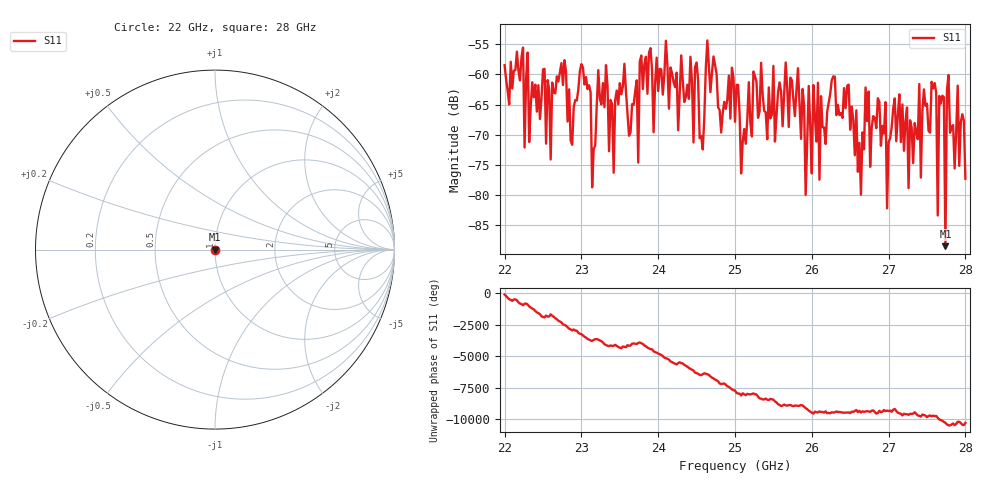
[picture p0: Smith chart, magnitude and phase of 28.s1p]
#  HZ  S  RI  R  50.00
! Rohde & Schwarz ZVA40 4Ports - Version 3.90 - 1145.1110k42 SN: 100403
! Date: 2023-10-04 08:04:57
! Measurement: S12
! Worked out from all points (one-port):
!   301 points, 22 GHz to 28 GHz, reference 50 ohm
!   lowest |S11| = -88.5 dB at 27.74 GHz (marker M1), VSWR 1.00, Z = 50 + j0.00291 ohm
!   |S11| at or under -10 dB: start of sweep to end of sweep
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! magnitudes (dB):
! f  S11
! 22 GHz  -58.4
! 22.76 GHz  -61.8
! 23.1 GHz  -61.8
! 23.14 GHz  -78.8
! 23.22 GHz  -59.3
! 23.42 GHz  -76.3
! 23.5 GHz  -61.4
! 24.26 GHz  -69.3
! 24.58 GHz  -72.5
! 24.64 GHz  -54.3
! 25 GHz  -67.9
! 25.76 GHz  -64.1
! 25.92 GHz  -80.0
! 25.96 GHz  -61.9
! 26 GHz  -76.4
! 26.02 GHz  -61.7
! 26.1 GHz  -77.5
! 26.5 GHz  -69.2
! 26.96 GHz  -64.6
! 26.98 GHz  -82.3
! 27.14 GHz  -63.3
! 27.26 GHz  -78.9
! 27.56 GHz  -61.2
! 27.64 GHz  -83.4
! 27.72 GHz  -63.8
! 27.74 GHz  -88.5
! 27.78 GHz  -60.1
! 28 GHz  -77.3
